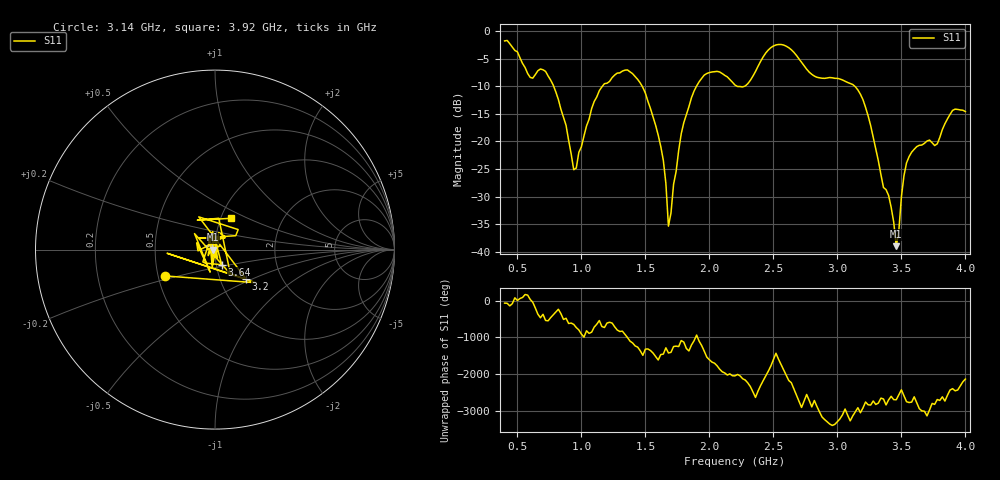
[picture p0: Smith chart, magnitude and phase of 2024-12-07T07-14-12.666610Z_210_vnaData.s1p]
!Created with skrf (http://scikit-rf.org).
# Hz S RI R 50.0
!freq ReS11 ImS11
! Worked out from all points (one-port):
!   181 points, 400 MHz to 4 GHz, reference 50 ohm
!   lowest |S11| = -39.0 dB at 3.46 GHz (marker M1), VSWR 1.02, Z = 48.9 + j0.0183 ohm
!   |S11| at or under -10 dB: 783.5 MHz to 1.164 GHz (380.1 MHz wide, 39 % of centre); 1.475 GHz to 1.899 GHz (424.1 MHz wide, 25.1 % of centre); 3.136 GHz to end of sweep (the widest 3 of 4)
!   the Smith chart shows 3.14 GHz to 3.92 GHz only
!   S11 on the Smith chart (normalised r, x): 3.14 GHz: 0.55, -0.18; 3.2 GHz: 1.33, -0.46; 3.64 GHz: 1.06, -0.18; 3.92 GHz: 1.12, +0.41
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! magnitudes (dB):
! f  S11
! 400 MHz  -1.8
! 600 MHz  -8.4
! 720 MHz  -7.3
! 860 MHz  -15.6
! 960 MHz  -24.8
! 1.1 GHz  -12.7
! 1.3 GHz  -7.6
! 1.44 GHz  -8.8
! 1.54 GHz  -14.1
! 1.64 GHz  -23.4
! 1.68 GHz  -35.4
! 1.76 GHz  -21.6
! 1.86 GHz  -12.1
! 1.96 GHz  -8.0
! 2.2 GHz  -9.8
! 2.5 GHz  -2.7
! 2.66 GHz  -3.8
! 3.1 GHz  -9.5
! 3.14 GHz  -10.1
! 3.2 GHz  -12.4
! 3.4 GHz  -29.8
! 3.46 GHz  -39.0
! 3.52 GHz  -26.2
! 3.56 GHz  -22.8
! 3.64 GHz  -20.7
! 3.78 GHz  -20.4
! 3.92 GHz  -14.1
! 4 GHz  -14.6
